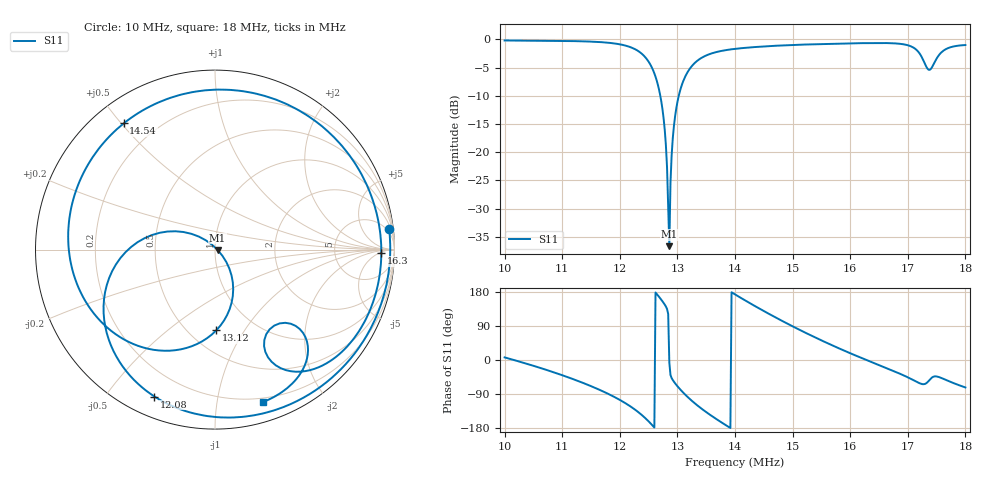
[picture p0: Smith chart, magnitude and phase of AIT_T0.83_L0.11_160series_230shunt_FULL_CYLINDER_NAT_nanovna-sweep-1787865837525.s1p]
! NanoVNA Web complex sweep
! Processing: original sample grid, no browser smoothing
# Hz S RI R 50
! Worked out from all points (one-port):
!   401 points, 10 MHz to 18 MHz, reference 50 ohm
!   lowest |S11| = -36.6 dB at 12.86 MHz (marker M1), VSWR 1.03, Z = 51.5 - j0.201 ohm
!   |S11| at or under -10 dB: 12.7 MHz to 13.02 MHz (321 kHz wide, 2.5 % of centre)
!   S11 on the Smith chart (normalised r, x): 10 MHz: 3, +16; 12.08 MHz: 0.09, -0.67; 13.12 MHz: 0.67, -0.76; 14.54 MHz: 0.09, +0.51; 16.3 MHz: 25, -7; 18 MHz: 0.16, -1.35
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1e7  0.9702 0.1171
1.1e7  0.7408 -0.6242
1.158e7  0.2597 -0.9146
1.2e7  -0.2384 -0.8716
1.208e7  -0.3372 -0.8186
1.24e7  -0.6171 -0.3925
1.262e7  -0.4666 0.0152
1.274e7  -0.2193 0.1022
1.278e7  -0.1317 0.088
1.282e7  -0.0518 0.0522
1.286e7  0.0146 -0.00195
1.288e7  0.0413 -0.0344
1.294e7  0.0923 -0.1446
1.3e7  0.099 -0.2597
1.312e7  0.00746 -0.4496
1.346e7  -0.4807 -0.5143
1.372e7  -0.7353 -0.2639
1.4e7  -0.8177 0.0984
1.454e7  -0.5085 0.7033
1.5e7  0.0175 0.8914
1.544e7  0.506 0.7524
1.6e7  0.8764 0.283
1.63e7  0.9268 -0.0186
1.7e7  0.6192 -0.6347
1.728e7  0.2806 -0.5704
1.744e7  0.422 -0.413
1.762e7  0.5124 -0.6075
1.8e7  0.2681 -0.8491
